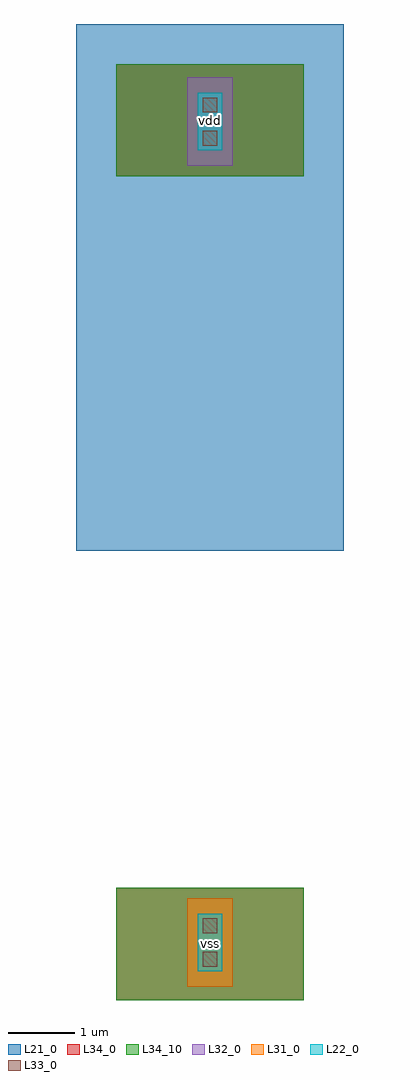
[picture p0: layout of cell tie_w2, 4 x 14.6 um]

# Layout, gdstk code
import gdstk
lib = gdstk.Library(unit=1e-6, precision=1e-09)
def R(c, l, rs):  # rectangles x0, y0, x1, y1
    for r in rs: c.add(gdstk.rectangle(r[:2], r[2:], *l))
L21_0 = (21, 0)
L22_0 = (22, 0)
L31_0 = (31, 0)
L32_0 = (32, 0)
L33_0 = (33, 0)
L34_0 = (34, 0)
L34_10 = (34, 10)

tie_w2 = lib.new_cell('tie_w2')
R(tie_w2, L21_0, [(-0.6,6.72,3.4,14.6)])
R(tie_w2, L22_0, [(1.22,0.43,1.58,1.29), (1.22,12.71,1.58,13.57)])
R(tie_w2, L31_0, [(1.06,0.2,1.74,1.52)])
R(tie_w2, L32_0, [(1.06,12.48,1.74,13.8)])
R(tie_w2, L33_0, [(1.29,0.5,1.51,0.72), (1.29,1,1.51,1.22), (1.29,12.78,1.51,13), (1.29,13.28,1.51,13.5)])
R(tie_w2, L34_0, [(0,0,2.8,1.68), (0,12.32,2.8,14)])
R(tie_w2, L34_10, [(0,0,2.8,1.68), (0,12.32,2.8,14)])
tie_w2.add(gdstk.Label('vdd', (1.4,13.16), layer=34, texttype=10))
tie_w2.add(gdstk.Label('vss', (1.4,0.84), layer=34, texttype=10))

lib.write_gds('tie_w2.gds')
